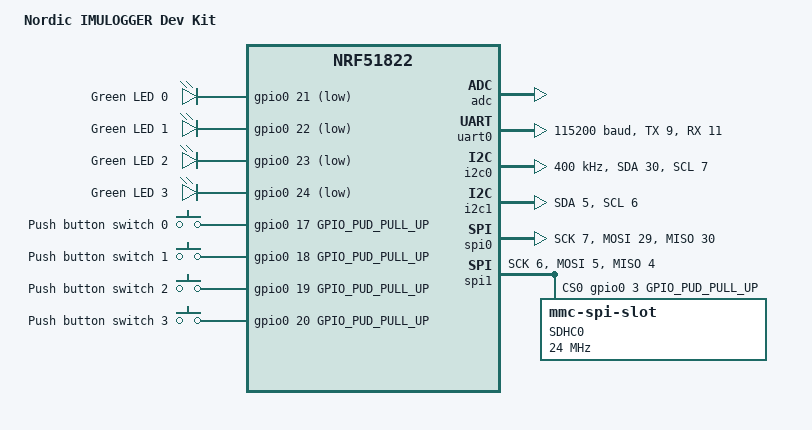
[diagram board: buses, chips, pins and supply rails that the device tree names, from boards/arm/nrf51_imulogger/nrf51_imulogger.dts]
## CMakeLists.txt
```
# The following lines of boilerplate have to be in your project's
# CMakeLists in this exact order for cmake to work correctly
cmake_minimum_required(VERSION 3.5)

include($ENV{IDF_PATH}/tools/cmake/project.cmake)
project(imulogger)
```

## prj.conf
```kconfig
# IMU
CONFIG_GPIO=y
CONFIG_I2C=y

# sdcard
CONFIG_SPI=y
CONFIG_DISK_ACCESS=y
CONFIG_DISK_ACCESS_SDHC=y
CONFIG_DISK_SDHC_VOLUME_NAME="SD"
CONFIG_FILE_SYSTEM=y
CONFIG_FAT_FILESYSTEM_ELM=y

# bluetooth
CONFIG_BT=y
CONFIG_BT_DEBUG_LOG=n
CONFIG_BT_SMP=n
CONFIG_BT_PERIPHERAL=y
CONFIG_BT_DEVICE_NAME="imulogger"

# debugging
CONFIG_SERIAL=y
CONFIG_CONSOLE=y
CONFIG_PRINTK=y
```

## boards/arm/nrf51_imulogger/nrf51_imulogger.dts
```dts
/*
 * Copyright (c) 2017 Linaro Limited
 *
 * SPDX-License-Identifier: Apache-2.0
 */

/dts-v1/;
#include <nordic/nrf51822_qfaa.dtsi>

/ {
	model = "Nordic IMULOGGER Dev Kit";
	compatible = "nordic,imulogger", "nordic,nrf51822-qfaa",
		     "nordic,nrf51822";

	chosen {
		zephyr,console = &uart0;
		zephyr,shell-uart = &uart0;
		zephyr,uart-mcumgr = &uart0;
		zephyr,bt-mon-uart = &uart0;
		zephyr,sram = &sram0;
		zephyr,flash = &flash0;
		zephyr,code-partition = &slot0_partition;
	};

	leds {
		compatible = "gpio-leds";
		led0: led_0 {
			gpios = <&gpio0 21 GPIO_INT_ACTIVE_LOW>;
			label = "Green LED 0";
		};
		led1: led_1 {
			gpios = <&gpio0 22 GPIO_INT_ACTIVE_LOW>;
			label = "Green LED 1";
		};
		led2: led_2 {
			gpios = <&gpio0 23 GPIO_INT_ACTIVE_LOW>;
			label = "Green LED 2";
		};
		led3: led_3 {
			gpios = <&gpio0 24 GPIO_INT_ACTIVE_LOW>;
			label = "Green LED 3";
		};
	};

	buttons {
		compatible = "gpio-keys";
		button0: button_0 {
			gpios = <&gpio0 17 GPIO_PUD_PULL_UP>;
			label = "Push button switch 0";
		};
		button1: button_1 {
			gpios = <&gpio0 18 GPIO_PUD_PULL_UP>;
			label = "Push button switch 1";
		};
		button2: button_2 {
			gpios = <&gpio0 19 GPIO_PUD_PULL_UP>;
			label = "Push button switch 2";
		};
		button3: button_3 {
			gpios = <&gpio0 20 GPIO_PUD_PULL_UP>;
			label = "Push button switch 3";
		};
	};

	/* These aliases are provided for compatibility with samples */
	aliases {
		led0 = &led0;
		led1 = &led1;
		led2 = &led2;
		led3 = &led3;
		sw0 = &button0;
		sw1 = &button1;
		sw2 = &button2;
		sw3 = &button3;
	};
};

&gpiote {
	status ="ok";
};

&gpio0 {
	status ="ok";
};

&adc {
	status ="ok";
};

&uart0 {
	current-speed = <115200>;
	status = "ok";
	tx-pin = <9>;
	rx-pin = <11>;
	rts-pin = <8>;
	cts-pin = <10>;
};

&i2c0 {
	status = "ok";
	sda-pin = <30>;
	scl-pin = <7>;
	clock-frequency = <I2C_BITRATE_FAST>;
};

&i2c1 {
	/* Cannot be used together with spi1. */
	/* status = "ok"; */
	sda-pin = <5>;
	scl-pin = <6>;
};

&spi0 {
	/* Cannot be used together with i2c0. */
	/* status = "ok"; */
	sck-pin = <7>;
	mosi-pin = <29>;
	miso-pin = <30>;
};

&spi1 {
	status = "ok";
	sck-pin = <6>;
	mosi-pin = <5>;
	miso-pin = <4>;
	cs-gpios = <&gpio0 3 GPIO_PUD_PULL_UP>;

	sdhc0: sdhc@0 {
		compatible = "zephyr,mmc-spi-slot";
		reg = <0>;
		status = "ok";
		label = "SDHC0";
		spi-max-frequency = <24000000>;
	};
};

&flash0 {
	/*
	 * For more information, see:
	 * http://docs.zephyrproject.org/latest/guides/dts/index.html#flash-partitions
	 */
	partitions {
		compatible = "fixed-partitions";
		#address-cells = <1>;
		#size-cells = <1>;

		boot_partition: partition@0 {
			label = "mcuboot";
			reg = <0x00000000 0x8000>;
		};
		slot0_partition: partition@8000 {
			label = "image-0";
			reg = <0x00008000 0x1a000>;
		};
		slot1_partition: partition@22000 {
			label = "image-1";
			reg = <0x00022000 0x1a000>;
		};
		scratch_partition: partition@3c000 {
			label = "image-scratch";
			reg = <0x0003c000 0x2000>;
		};
		storage_partition: partition@3e000 {
			label = "storage";
			reg = <0x0003e000 0x00002000>;
		};
	};
};
```

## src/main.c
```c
/*
 * SPDX-License-Identifier: Apache-2.0
 */

#include <zephyr/types.h>
#include <stddef.h>
#include <string.h>
#include <errno.h>
#include <misc/printk.h>
#include <misc/byteorder.h>
#include <zephyr.h>
#include <atomic.h>

#include <bluetooth/bluetooth.h>
#include <bluetooth/hci.h>
#include <bluetooth/conn.h>
#include <bluetooth/uuid.h>
#include <bluetooth/gatt.h>

#include <disk_access.h>
#include <fs.h>
#include <ff.h>

#include <crossi2c/zephyr.h>
#include <em7180.h>

#define SD_MOUNT_POINT "/SD:"
#define SD_MOUNT_POINT_LEN sizeof(SD_MOUNT_POINT) - 1
static FATFS fat_fs;
static struct fs_mount_t mp = {
    .type = FS_FATFS,
    .fs_data = &fat_fs,
    .mnt_point = SD_MOUNT_POINT,
};

#define I2C_DEV DT_I2C_0_NAME
static struct crossi2c_bus i2cbus;
static struct em7180 em7180;

static struct bt_uuid_128 uuid_service = BT_UUID_INIT_128(
    0xf0, 0xde, 0xbc, 0x9a, 0x78, 0x56, 0x34, 0x12,
    0x78, 0x56, 0x34, 0x12, 0x78, 0x56, 0x34, 0x12);

static struct bt_uuid_128 uuid_chr_active = BT_UUID_INIT_128(
    0xf1, 0xde, 0xbc, 0x9a, 0x78, 0x56, 0x34, 0x12,
    0x78, 0x56, 0x34, 0x12, 0x78, 0x56, 0x34, 0x12);

static struct bt_uuid_128 uuid_chr_logname = BT_UUID_INIT_128(
    0xf2, 0xde, 0xbc, 0x9a, 0x78, 0x56, 0x34, 0x12,
    0x78, 0x56, 0x34, 0x12, 0x78, 0x56, 0x34, 0x12);

static struct bt_uuid_128 uuid_chr_fs_path = BT_UUID_INIT_128(
    0x01, 0xdf, 0xbc, 0x9a, 0x78, 0x56, 0x34, 0x12,
    0x78, 0x56, 0x34, 0x12, 0x78, 0x56, 0x34, 0x12);

static struct bt_uuid_128 uuid_chr_fs_data = BT_UUID_INIT_128(
    0x02, 0xdf, 0xbc, 0x9a, 0x78, 0x56, 0x34, 0x12,
    0x78, 0x56, 0x34, 0x12, 0x78, 0x56, 0x34, 0x12);

static struct bt_uuid_128 uuid_chr_fs_unlink = BT_UUID_INIT_128(
    0x03, 0xdf, 0xbc, 0x9a, 0x78, 0x56, 0x34, 0x12,
    0x78, 0x56, 0x34, 0x12, 0x78, 0x56, 0x34, 0x12);

#define LOGNAME_PREFIX_LEN SD_MOUNT_POINT_LEN + 1
static atomic_t logger_active = ATOMIC_INIT(0);
static struct k_sem logger_sem;
static char logname[LOGNAME_PREFIX_LEN + 20 + 1];

static char fs_path[SD_MOUNT_POINT_LEN + 20 + 1];
static uint8_t fs_dir_valid;
static struct fs_dir_t fs_dir;
static uint8_t fs_file_valid;
static struct fs_file_t fs_file;

static ssize_t active_read(struct bt_conn *conn, const struct bt_gatt_attr *attr,
            void *buf, u16_t len, u16_t offset)
{
    return bt_gatt_attr_read(conn, attr, buf, len, offset, &logger_active, sizeof(logger_active));
}

static ssize_t active_write(struct bt_conn *conn, const struct bt_gatt_attr *attr,
             const void *buf, u16_t len, u16_t offset,
             u8_t flags)
{
    if (offset != 0) {
        return BT_GATT_ERR(BT_ATT_ERR_INVALID_OFFSET);
    }
    if (len != 1) {
        return BT_GATT_ERR(BT_ATT_ERR_VALUE_NOT_ALLOWED);
    }
    uint8_t val = *((uint8_t*)buf);
    if (val > 1) {
        return BT_GATT_ERR(BT_ATT_ERR_VALUE_NOT_ALLOWED);
    }

    if (val) {
        if (atomic_get(&logger_active)) {
            printk("logger is already enabled\b");
            return BT_GATT_ERR(BT_ATT_ERR_VALUE_NOT_ALLOWED);
        }

        k_sem_give(&logger_sem);
        atomic_set(&logger_active, 1);
    }
    else {
        if (!atomic_get(&logger_active)) {
            printk("logger is already disabled\b");
            return BT_GATT_ERR(BT_ATT_ERR_VALUE_NOT_ALLOWED);
        }

        atomic_set(&logger_active, 0);
    }

    return len;
}

static ssize_t logname_read(struct bt_conn *conn, const struct bt_gatt_attr *attr,
            void *buf, u16_t len, u16_t offset)
{
    return bt_gatt_attr_read(conn, attr, buf, len, offset, logname + LOGNAME_PREFIX_LEN, strlen(logname + LOGNAME_PREFIX_LEN));
}

static ssize_t logname_write(struct bt_conn *conn, const struct bt_gatt_attr *attr,
             const void *buf, u16_t len, u16_t offset,
             u8_t flags)
{
    if (offset + len > sizeof(logname) - LOGNAME_PREFIX_LEN - 1) {
        strcpy(logname + LOGNAME_PREFIX_LEN, "default");
        return BT_GATT_ERR(BT_ATT_ERR_VALUE_NOT_ALLOWED);
    }

    memcpy(logname + LOGNAME_PREFIX_LEN + offset, buf, len);
    logname[LOGNAME_PREFIX_LEN + offset + len] = '\0';

    printk("new logname: %s\n", logname);

    return len;
}

static ssize_t fs_path_write(struct bt_conn *conn, const struct bt_gatt_attr *attr,
             const void *buf, u16_t len, u16_t offset,
             u8_t flags)
{
    if (offset + len > sizeof(fs_path) - SD_MOUNT_POINT_LEN - 1) {
        fs_path[SD_MOUNT_POINT_LEN] = '\0';
        return BT_GATT_ERR(BT_ATT_ERR_VALUE_NOT_ALLOWED);
    }

    memcpy(fs_path + SD_MOUNT_POINT_LEN + offset, buf, len);
    fs_path[SD_MOUNT_POINT_LEN + offset + len] = '\0';

    printk("new fs path: %s\n", fs_path);

    if (fs_dir_valid) {
        fs_closedir(&fs_dir);
        fs_dir_valid = 0;
    }

    if (fs_file_valid) {
        fs_close(&fs_file);
        fs_file_valid = 0;
    }

    return len;
}

static ssize_t fs_data_read(struct bt_conn *conn, const struct bt_gatt_attr *attr,
            void *buf, u16_t len, u16_t offset)
{
    int err;

    if (offset != 0) {
        printk("non-zero offset '%u' is not allowed\n", offset);
        return BT_GATT_ERR(BT_ATT_ERR_INVALID_OFFSET);
    }

    if (logger_active) {
        printk("reading is not allowed while logging\n");
        return BT_GATT_ERR(BT_ATT_ERR_NOT_SUPPORTED);
    }

    if (!fs_dir_valid && !fs_file_valid) {
        // list files in root dir
        if (fs_path[SD_MOUNT_POINT_LEN] == '/' && fs_path[SD_MOUNT_POINT_LEN + 1] == '\0') {
            printk("open root dir\n");

            err = fs_opendir(&fs_dir, fs_path);
            if (err) {
                printk("can't open root dir: %d\n", err);
                return BT_GATT_ERR(BT_ATT_ERR_NOT_SUPPORTED);
            }

            fs_dir_valid = 1;
        }

        // read file contents
        else if (fs_path[SD_MOUNT_POINT_LEN]) {
            static struct fs_dirent entry;
            printk("open file '%s'\n", fs_path);

            err = fs_stat(fs_path, &entry);
            if (err) {
                printk("can't stat file '%s': %d\n", fs_path, err);
                return BT_GATT_ERR(BT_ATT_ERR_NOT_SUPPORTED);
            }

            err = fs_open(&fs_file, fs_path);
            if (err) {
                printk("can't open file: %d\n", err);
                return BT_GATT_ERR(BT_ATT_ERR_UNLIKELY);
            }

            fs_file_valid = 1;
        }

        else {
            printk("no path set\n");
            return BT_GATT_ERR(BT_ATT_ERR_VALUE_NOT_ALLOWED);
        }

        // reset path so we don't read it twice
        fs_path[SD_MOUNT_POINT_LEN] = '\0';
    }

    if (fs_dir_valid && fs_file_valid) {
        printk("BUG: we have both a dir and a file\n");

        fs_closedir(&fs_dir);
        fs_dir_valid = 0;

        fs_close(&fs_file);
        fs_file_valid = 0;

        return BT_GATT_ERR(BT_ATT_ERR_UNLIKELY);
    }

    if (fs_dir_valid) {
        static struct fs_dirent entry;
        size_t namelen;

        for (;;) {
            err = fs_readdir(&fs_dir, &entry);
            if (err) {
                printk("readdir failed: %d\n", err);

                fs_closedir(&fs_dir);
                fs_dir_valid = 0;

                return BT_GATT_ERR(BT_ATT_ERR_UNLIKELY);
            }
            namelen = strlen(entry.name);

            if (entry.type != FS_DIR_ENTRY_FILE) {
                printk("entry '%s' is not a file, skip\n", entry.name);
                continue;
            }

            if (namelen > 20) {
                printk("name '%s' is too long, skip\n", entry.name);
                continue;
            }

            if (namelen == 0) {
                printk("end of dir\n");

                fs_closedir(&fs_dir);
                fs_dir_valid = 0;

                return 0;
            }

            break;
        }

        return bt_gatt_attr_read(conn, attr, buf, len, offset, entry.name, namelen);
    }

    else if(fs_file_valid) {
        err = fs_read(&fs_file, buf, len);
        if (err < 0) {
            printk("fs_read error: %d\n", err);

            fs_close(&fs_file);
            fs_file_valid = 0;

            return BT_GATT_ERR(BT_ATT_ERR_UNLIKELY);
        }

        if (err == 0) {
            printk("end of file\n");

            fs_close(&fs_file);
            fs_file_valid = 0;

            return 0;
        }

        return err;
    }

    else {
        printk("BUG: we have no open file or dir\n");
        return BT_GATT_ERR(BT_ATT_ERR_UNLIKELY);
    }
}

static ssize_t fs_unlink_write(struct bt_conn *conn, const struct bt_gatt_attr *attr,
             const void *buf, u16_t len, u16_t offset,
             u8_t flags)
{
    int err;

    if (offset != 0) {
        return BT_GATT_ERR(BT_ATT_ERR_INVALID_OFFSET);
    }
    if (len != 1) {
        return BT_GATT_ERR(BT_ATT_ERR_VALUE_NOT_ALLOWED);
    }
    if (*((uint8_t*)buf) != 0x01) {
        return BT_GATT_ERR(BT_ATT_ERR_VALUE_NOT_ALLOWED);
    }

    if (logger_active) {
        printk("deleting is not allowed while logging\n");
        return BT_GATT_ERR(BT_ATT_ERR_NOT_SUPPORTED);
    }

    printk("delete path: %s\n", fs_path);
    err = fs_unlink(fs_path);
    fs_path[SD_MOUNT_POINT_LEN] = '\0';

    if (err) {
        printk("unlink failed: %d\n", err);
        return BT_GATT_ERR(BT_ATT_ERR_UNLIKELY);
    }

    return len;
}

static struct bt_gatt_attr vnd_attrs[] = {
    BT_GATT_PRIMARY_SERVICE(&uuid_service),

    BT_GATT_CHARACTERISTIC(&uuid_chr_active.uuid,
        BT_GATT_CHRC_READ | BT_GATT_CHRC_WRITE | BT_GATT_CHRC_NOTIFY,
        BT_GATT_PERM_READ | BT_GATT_PERM_WRITE,
        active_read, active_write, NULL
    ),
    BT_GATT_CUD("active", BT_GATT_PERM_READ),

    BT_GATT_CHARACTERISTIC(&uuid_chr_logname.uuid,
        BT_GATT_CHRC_READ | BT_GATT_CHRC_WRITE | BT_GATT_CHRC_NOTIFY,
        BT_GATT_PERM_READ | BT_GATT_PERM_WRITE,
        logname_read, logname_write, NULL
    ),
    BT_GATT_CUD("logname", BT_GATT_PERM_READ),

    BT_GATT_CHARACTERISTIC(&uuid_chr_fs_path.uuid,
        BT_GATT_CHRC_WRITE,
        BT_GATT_PERM_WRITE,
        NULL, fs_path_write, NULL
    ),
    BT_GATT_CUD("fs_path", BT_GATT_PERM_READ),

    BT_GATT_CHARACTERISTIC(&uuid_chr_fs_data.uuid,
        BT_GATT_CHRC_READ,
        BT_GATT_PERM_READ,
        fs_data_read, NULL, NULL
    ),
    BT_GATT_CUD("fs_data", BT_GATT_PERM_READ),

    BT_GATT_CHARACTERISTIC(&uuid_chr_fs_unlink.uuid,
        BT_GATT_CHRC_WRITE,
        BT_GATT_PERM_WRITE,
        NULL, fs_unlink_write, NULL
    ),
    BT_GATT_CUD("fs_unlink", BT_GATT_PERM_READ),
};

static struct bt_gatt_service vnd_svc = BT_GATT_SERVICE(vnd_attrs);

static const struct bt_data ad[] = {
    BT_DATA_BYTES(BT_DATA_FLAGS, (BT_LE_AD_GENERAL | BT_LE_AD_NO_BREDR)),
};

static void connected(struct bt_conn *conn, u8_t err)
{
    if (err) {
        printk("Connection failed (err %u)\n", err);
    } else {
        printk("Connected\n");
    }
}

static void disconnected(struct bt_conn *conn, u8_t reason)
{
    printk("Disconnected (reason %u)\n", reason);
}

static struct bt_conn_cb conn_callbacks = {
    .connected = connected,
    .disconnected = disconnected,
};

static void bt_ready(int err)
{
    if (err) {
        printk("Bluetooth init failed (err %d)\n", err);
        return;
    }

    printk("Bluetooth initialized\n");

    bt_gatt_service_register(&vnd_svc);

    err = bt_le_adv_start(BT_LE_ADV_CONN_NAME, ad, ARRAY_SIZE(ad), NULL, 0);
    if (err) {
        printk("Advertising failed to start (err %d)\n", err);
        return;
    }

    printk("Advertising successfully started\n");
}

static int init_fs(void)
{
    int err;
    static const char *disk_pdrv = "SD";
    u64_t memory_size_mb;
    u32_t block_count;
    u32_t block_size;

    strcpy(fs_path, SD_MOUNT_POINT);
    strcpy(logname, SD_MOUNT_POINT "/default");

    err = disk_access_init(disk_pdrv);
    if (err) {
        printk("Storage init ERROR (err %d)!\n", err);
        return -1;
    }

    err = disk_access_ioctl(disk_pdrv, DISK_IOCTL_GET_SECTOR_COUNT, &block_count);
    if (err) {
        printk("Unable to get sector count (err %d)\n", err);
        return -1;
    }
    printk("Block count %u\n", block_count);

    err = disk_access_ioctl(disk_pdrv, DISK_IOCTL_GET_SECTOR_SIZE, &block_size);
    if (err) {
        printk("Unable to get sector size (err %d)\n", err);
        return -1;
    }
    printk("Sector size %u\n", block_size);

    memory_size_mb = (u64_t)block_count * block_size;
    printk("Memory Size(MB) %u\n", (u32_t)(memory_size_mb>>20));

    err = fs_mount(&mp);
    if (err != FR_OK) {
        printk("Error mounting disk. (err %d)\n", err);
        return -1;
    }

    printk("Disk mounted.\n");
    return 0;
}

static int init_imu(void) {
    int err;
    struct device *i2c_dev;

    i2c_dev = device_get_binding(I2C_DEV);
    if (!i2c_dev) {
        printk("I2C: Device driver not found.\n");
        return -1;
    }

    err = crossi2c_zephyr_create(&i2cbus, i2c_dev);
    if (err) {
        printk("crossi2c init failed (err %d)\n", err);
        return -1;
    }

    err = em7180_create(&em7180, &i2cbus);
    if (err)  {
        printk("em7180 creation failed (err %d)\n", err);
        return -1;
    }

    err = em7180_init(&em7180);
    if (err)  {
        printk("em7180 init failed (err %d)\n", err);
        return -1;
    }

    em7180_set_algorithm(&em7180, EM7180_AS_STANDBY);

    return 0;
}

static void do_log(void) {
    int err;
    static struct fs_file_t log_file;
    uint8_t alg_status;
    uint8_t event_status;
    uint8_t error_reg;
    s64_t uptime;
    u32_t counter;
    static uint8_t data_raw[50];

    printk("start logging\n");

    err = fs_open(&log_file, logname);
    if (err) {
        printk("can't open '%s': %d\n", logname, err);
        return;
    }

    em7180_set_algorithm(&em7180, 0x00);

    for (;;) {
        if (!atomic_get(&logger_active)) {
            printk("logger got disabled\n");
            break;
        }

        err = em7180_get_algorithm_status(&em7180, &alg_status);
        if (err) {
            printk("Unable to get algorithm status (err %d)\n", err);
            continue;
        }

        err = em7180_get_event_status(&em7180, &event_status);
        if (err) {
            printk("Unable to get event status (err %d)\n", err);
            continue;
        }

        if (event_status & EM7180_EVENT_ERROR) {
            err = em7180_get_error_register(&em7180, &error_reg);
            if (err) {
                printk("Unable to get error register (err %d)\n", err);
                continue;
            }
            em7180_print_error(error_reg);
            continue;
        }

        if (!event_status) {
            continue;
        }

        uptime = k_uptime_get();
        counter = k_cycle_get_32();

        err = em7180_get_data_all_raw(&em7180, data_raw);
        if (err) {
            printk("Unable to get raw data (err %d)\n", err);
            continue;
        }

        err = fs_write(&log_file, &uptime, sizeof(uptime));
        if (err < 0 || (size_t)err != sizeof(uptime)) {
            printk("can't write uptime\n");
            break;
        }

        err = fs_write(&log_file, &counter, sizeof(counter));
        if (err < 0 || (size_t)err != sizeof(counter)) {
            printk("can't write counter\n");
            break;
        }

        err = fs_write(&log_file, &alg_status, sizeof(alg_status));
        if (err < 0 || (size_t)err != sizeof(alg_status)) {
            printk("can't write alg_status\n");
            break;
        }

        err = fs_write(&log_file, &event_status, sizeof(event_status));
        if (err < 0 || (size_t)err != sizeof(event_status)) {
            printk("can't write event_status\n");
            break;
        }

        err = fs_write(&log_file, data_raw, sizeof(data_raw));
        if (err < 0 || (size_t)err != sizeof(data_raw)) {
            printk("can't write raw data\n");
            break;
        }
    }

    em7180_set_algorithm(&em7180, EM7180_AS_STANDBY);

    err = fs_close(&log_file);
    if (err) {
        printk("can't close logfile: %d\n", err);
    }

    printk("logging finished\n");
}

void main(void)
{
    int err;

    k_sem_init(&logger_sem, 0, 1);

    err = init_fs();
    if (err) {
        printk("FS init failed (err %d)\n", err);
        return;
    }

    err = init_imu();
    if (err) {
        printk("IMU init failed (err %d)\n", err);
        return;
    }

    err = bt_enable(bt_ready);
    if (err) {
        printk("Bluetooth init failed (err %d)\n", err);
        return;
    }

    bt_conn_cb_register(&conn_callbacks);

    for (;;) {
        if (k_sem_take(&logger_sem, K_FOREVER)) {
            printk("sem error\n");
            continue;
        }

        do_log();
    }
}
```
